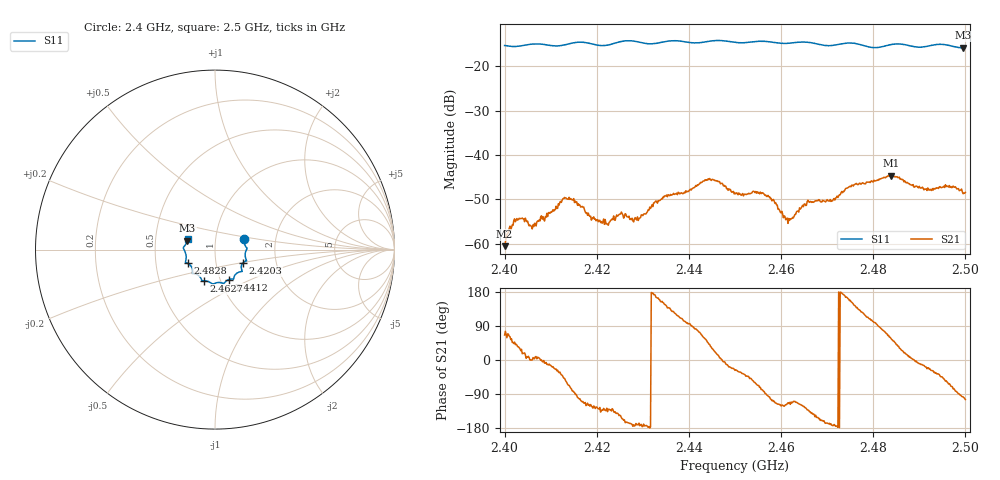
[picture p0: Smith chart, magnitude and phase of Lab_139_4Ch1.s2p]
# Hz S RI R 50
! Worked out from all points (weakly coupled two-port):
!   601 points, 2.4 GHz to 2.5 GHz, reference 50 ohm
!   highest |S21| = -44.64 dB at 2.4838 GHz (marker M1); lowest = -60.6 dB at 2.4 GHz (marker M2)
!   lowest |S11| = -15.8 dB at 2.4995 GHz (marker M3), VSWR 1.39, Z = 36.5 + j3.77 ohm
!   |S11| at or under -10 dB: start of sweep to end of sweep
!   S12 and S22 are empty: the file has one direction only
!   S11 on the Smith chart (normalised r, x): 2.4 GHz: 1.37, +0.16; 2.4203 GHz: 1.35, -0.20; 2.4412 GHz: 1.10, -0.38; 2.4627 GHz: 0.83, -0.30; 2.4828 GHz: 0.73, -0.11; 2.5 GHz: 0.73, +0.09
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2.4e9  0.1615 0.0583  0.000382 0.000855  0 0  0 0
2.4025e9  0.1646 0.0307  0.00137 0.00123  0 0  0 0
2.406333e9  0.1786 0.0083  0.00156 9.68e-05  0 0  0 0
2.413e9  0.1694 -0.0416  0.0022 -0.00248  0 0  0 0
2.416667e9  0.1764 -0.0622  -0.00083 -0.00246  0 0  0 0
2.420333e9  0.1561 -0.0732  -0.00111 -0.00138  0 0  0 0
2.425167e9  0.1502 -0.116  -0.00181 -0.00118  0 0  0 0
2.429e9  0.1422 -0.1232  -0.0018 -0.000278  0 0  0 0
2.433333e9  0.1077 -0.1479  -0.00294 0.000864  0 0  0 0
2.441167e9  0.0764 -0.1669  0.000507 0.00426  0 0  0 0
2.445e9  0.052 -0.1866  0.00457 0.0027  0 0  0 0
2.45e9  0.0304 -0.1837  0.0033 -0.00171  0 0  0 0
2.456e9  -0.0125 -0.1912  0.000691 -0.00369  0 0  0 0
2.461e9  -0.0475 -0.1749  -0.000869 -0.00165  0 0  0 0
2.462667e9  -0.0615 -0.1738  -0.000639 -0.00184  0 0  0 0
2.466667e9  -0.0744 -0.1682  -0.0022 -0.00191  0 0  0 0
2.482833e9  -0.1528 -0.0767  0.00195 0.00534  0 0  0 0
2.483333e9  -0.1565 -0.0751  0.00249 0.00528  0 0  0 0
2.483833e9  -0.1595 -0.0741  0.00319 0.00491  0 0  0 0
2.4915e9  -0.1669 -0.0118  0.00393 -0.00133  0 0  0 0
2.4995e9  -0.1535 0.0503  -0.000463 -0.00363  0 0  0 0
2.5e9  -0.1521 0.0571  -0.000945 -0.00367  0 0  0 0
